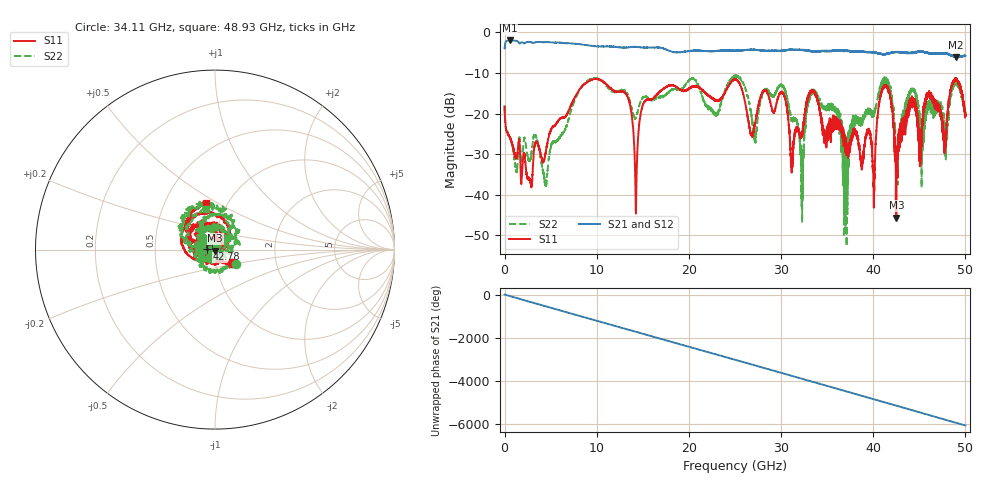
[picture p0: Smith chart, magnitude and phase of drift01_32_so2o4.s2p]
!Created with skrf (http://scikit-rf.org).
# Hz S RI R 50.0
!freq ReS11 ImS11 ReS21 ImS21 ReS12 ImS12 ReS22 ImS22
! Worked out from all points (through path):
!   10001 points, 300 kHz to 50 GHz, reference 50 ohm
!   highest |S21| = -2.00 dB at 570.3 MHz (marker M1); lowest = -6.1 dB at 48.98 GHz (marker M2)
!   group delay of S21, straight-line fit = 336 ps
!   lowest |S11| = -45.6 dB at 42.51 GHz (marker M3), VSWR 1.01, Z = 50 - j0.521 ohm
!   |S11| at or under -10 dB: start of sweep to end of sweep
!   |S22| runs from -52.7 to -10.6 dB; largest |S21 - S12| = 0.019
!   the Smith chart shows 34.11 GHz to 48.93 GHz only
!   S11 on the Smith chart (normalised r, x): 34.11 GHz: 1.19, -0.18; 42.78 GHz: 0.91, +0.00; 48.93 GHz: 0.79, +0.44
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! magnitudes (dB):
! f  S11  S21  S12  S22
! 300 kHz  -18.3  -3.9  -4.1  -18.0
! 570.3 MHz  -25.9  -2.0  -2.0  -26.0
! 4.435 GHz  -29.8  -2.4  -2.4  -37.2
! 8.335 GHz  -13.5  -3.0  -3.0  -13.5
! 13.17 GHz  -15.1  -3.7  -3.7  -14.6
! 14.25 GHz  -44.7  -3.6  -3.6  -21.1
! 16.67 GHz  -15.0  -3.7  -3.7  -15.9
! 25 GHz  -11.6  -4.5  -4.6  -10.9
! 27.15 GHz  -22.6  -4.3  -4.3  -26.0
! 30.2 GHz  -15.0  -4.5  -4.5  -13.3
! 32.25 GHz  -24.9  -4.3  -4.3  -39.2
! 33.34 GHz  -14.2  -4.7  -4.6  -14.7
! 34.11 GHz  -18.3  -4.7  -4.7  -16.9
! 37.02 GHz  -27.2  -4.5  -4.6  -32.1
! 40.06 GHz  -41.3  -4.9  -5.0  -20.6
! 41.67 GHz  -14.2  -5.2  -5.2  -12.8
! 42.51 GHz  -45.6  -4.9  -4.9  -28.1
! 42.78 GHz  -27.0  -4.9  -4.8  -26.6
! 47.75 GHz  -27.4  -5.2  -5.2  -26.4
! 48.93 GHz  -11.5  -6.0  -6.0  -12.7
! 48.98 GHz  -11.4  -6.1  -6.0  -12.8
! 50 GHz  -20.0  -5.8  -5.8  -19.8
